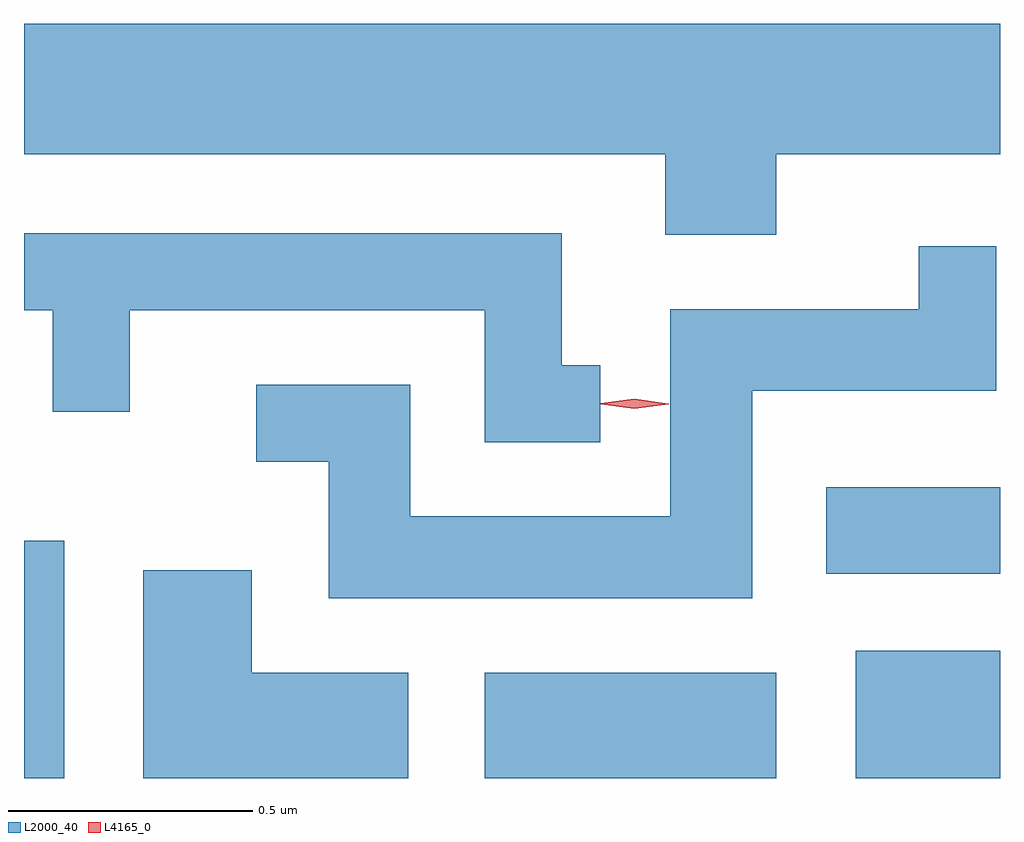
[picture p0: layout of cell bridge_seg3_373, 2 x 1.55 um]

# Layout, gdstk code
import gdstk
lib = gdstk.Library(unit=1e-6, precision=1e-09)
def R(c, l, rs):  # rectangles x0, y0, x1, y1
    for r in rs: c.add(gdstk.rectangle(r[:2], r[2:], *l))
def P(c, l, *ps):  # polygons
    for p in ps: c.add(gdstk.Polygon(p, *l))
L2000_40 = (2000, 40)
L4165_0 = (4165, 0)

bridge_seg3_373 = lib.new_cell('bridge_seg3_373')
R(bridge_seg3_373, L2000_40, [(677.237,1211.317,677.319,1211.804), (678.181,1211.317,678.779,1211.534), (678.941,1211.317,679.237,1211.579), (678.881,1211.736,679.237,1211.914)])
P(bridge_seg3_373, L2000_40, [(678.779,1212.596),(679.237,1212.596),(679.237,1212.864),(677.237,1212.864),(677.237,1212.596),(678.551,1212.596),(678.551,1212.431),(678.779,1212.431)],
  [(678.418,1212.164),(678.339,1212.164),(678.339,1212.434),(677.237,1212.434),(677.237,1212.276),(677.296,1212.276),(677.296,1212.068),(677.454,1212.068),(677.454,1212.276),(678.181,1212.276),(678.181,1212.006),(678.418,1212.006)],
  [(678.729,1212.111),(679.229,1212.111),(679.229,1212.408),(679.071,1212.408),(679.071,1212.279),(678.561,1212.279),(678.561,1211.854),(678.029,1211.854),(678.029,1212.124),(677.713,1212.124),(677.713,1211.966),(677.861,1211.966),(677.861,1211.686),(678.729,1211.686)],
  [(678.024,1211.534),(677.704,1211.534),(677.704,1211.744),(677.481,1211.744),(677.481,1211.317),(678.024,1211.317)])
P(bridge_seg3_373, L4165_0, [(678.488,1212.075),(678.419,1212.084),(678.419,1212.085),(678.419,1212.086),(678.488,1212.095),(678.558,1212.085),(678.558,1212.084),(678.558,1212.084)])

lib.write_gds('bridge_seg3_373.gds')
